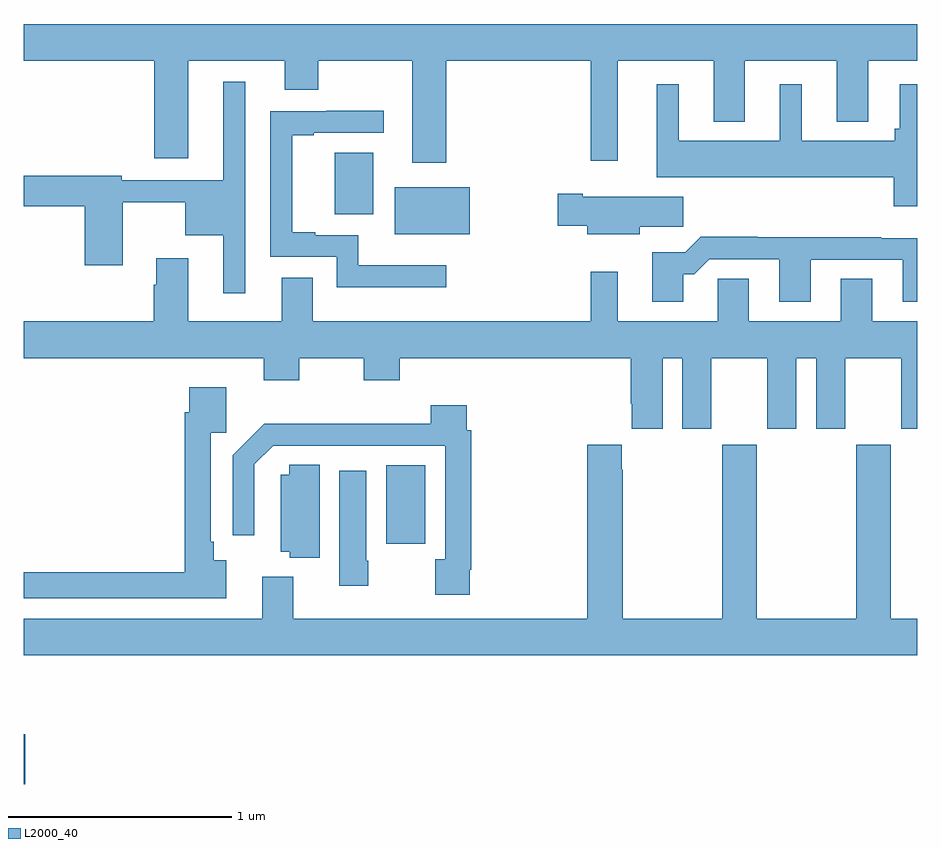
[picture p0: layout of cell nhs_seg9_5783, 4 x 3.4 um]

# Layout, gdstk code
import gdstk
lib = gdstk.Library(unit=1e-6, precision=1e-09)
def R(c, l, rs):  # rectangles x0, y0, x1, y1
    for r in rs: c.add(gdstk.rectangle(r[:2], r[2:], *l))
def P(c, l, *ps):  # polygons
    for p in ps: c.add(gdstk.Polygon(p, *l))
L2000_40 = (2000, 40)

nhs_seg9_5783 = lib.new_cell('nhs_seg9_5783')
R(nhs_seg9_5783, L2000_40, [(447,1206.5,447.005,1206.722), (448.661,1208.963,448.996,1209.172), (448.391,1209.053,448.564,1209.328)])
P(nhs_seg9_5783, L2000_40, [(448.892,1209.74),(449.538,1209.74),(449.538,1209.291),(449.659,1209.291),(449.659,1209.74),(450.089,1209.74),(450.089,1209.467),(450.229,1209.467),(450.229,1209.74),(450.641,1209.74),(450.641,1209.467),(450.781,1209.467),(450.781,1209.74),(451,1209.74),(451,1209.904),(447,1209.904),(447,1209.74),(447.584,1209.74),(447.584,1209.303),(447.736,1209.303),(447.736,1209.74),(448.169,1209.74),(448.169,1209.609),(448.317,1209.609),(448.317,1209.74),(448.739,1209.74),(448.739,1209.282),(448.892,1209.282)],
  [(447.99,1209.646),(447.893,1209.646),(447.893,1209.204),(447.438,1209.204),(447.438,1209.224),(447,1209.224),(447,1209.088),(447.272,1209.088),(447.272,1208.823),(447.442,1208.823),(447.442,1209.106),(447.722,1209.106),(447.722,1208.957),(447.893,1208.957),(447.893,1208.697),(447.99,1208.697)],
  [(451,1209.634),(450.923,1209.634),(450.923,1209.435),(450.901,1209.435),(450.901,1209.382),(450.484,1209.382),(450.484,1209.634),(450.386,1209.634),(450.386,1209.382),(449.932,1209.382),(449.932,1209.634),(449.834,1209.634),(449.834,1209.218),(450.896,1209.218),(450.896,1209.087),(451,1209.087)],
  [(448.891,1208.824),(448.498,1208.824),(448.498,1208.958),(448.304,1208.958),(448.304,1208.971),(448.202,1208.971),(448.202,1209.405),(448.297,1209.405),(448.297,1209.417),(448.612,1209.417),(448.612,1209.516),(448.353,1209.516),(448.353,1209.513),(448.104,1209.513),(448.104,1208.862),(448.401,1208.862),(448.401,1208.726),(448.891,1208.726)],
  [(449.758,1208.995),(449.953,1208.995),(449.953,1209.13),(449.503,1209.13),(449.503,1209.143),(449.391,1209.143),(449.391,1209.001),(449.522,1209.001),(449.522,1208.963),(449.758,1208.963)],
  [(449.953,1208.783),(450.002,1208.783),(450.069,1208.85),(450.383,1208.85),(450.383,1208.661),(450.523,1208.661),(450.523,1208.847),(450.935,1208.847),(450.935,1208.661),(451,1208.661),(451,1208.944),(450.839,1208.944),(450.839,1208.948),(450.287,1208.948),(450.287,1208.951),(450.032,1208.951),(449.962,1208.881),(449.813,1208.881),(449.813,1208.661),(449.953,1208.661)],
  [(449.86,1208.408),(449.948,1208.408),(449.948,1208.091),(450.079,1208.091),(450.079,1208.408),(450.329,1208.408),(450.329,1208.091),(450.46,1208.091),(450.46,1208.408),(450.548,1208.408),(450.548,1208.091),(450.679,1208.091),(450.679,1208.408),(450.929,1208.408),(450.929,1208.091),(451,1208.091),(451,1208.572),(450.799,1208.572),(450.799,1208.762),(450.659,1208.762),(450.659,1208.572),(450.247,1208.572),(450.247,1208.762),(450.108,1208.762),(450.108,1208.572),(449.659,1208.572),(449.659,1208.794),(449.538,1208.794),(449.538,1208.572),(448.294,1208.572),(448.294,1208.767),(448.154,1208.767),(448.154,1208.572),(447.736,1208.572),(447.736,1208.854),(447.593,1208.854),(447.593,1208.735),(447.581,1208.735),(447.581,1208.572),(447,1208.572),(447,1208.408),(448.073,1208.408),(448.073,1208.309),(448.233,1208.309),(448.233,1208.408),(448.522,1208.408),(448.522,1208.309),(448.682,1208.309),(448.682,1208.408),(449.717,1208.408),(449.717,1208.203),(449.723,1208.203),(449.723,1208.091),(449.86,1208.091)],
  [(447.907,1207.502),(447.85,1207.502),(447.85,1207.585),(447.837,1207.585),(447.837,1208.073),(447.906,1208.073),(447.906,1208.278),(447.74,1208.278),(447.74,1208.165),(447.721,1208.165),(447.721,1207.448),(447,1207.448),(447,1207.332),(447.907,1207.332)],
  [(448.996,1207.459),(449.003,1207.459),(449.003,1208.084),(448.984,1208.084),(448.984,1208.197),(448.823,1208.197),(448.823,1208.114),(448.077,1208.114),(447.936,1207.972),(447.936,1207.614),(448.032,1207.614),(448.032,1207.932),(448.116,1208.016),(448.887,1208.016),(448.887,1207.507),(448.841,1207.507),(448.841,1207.347),(448.996,1207.347)],
  [(451,1207.24),(450.882,1207.24),(450.882,1208.02),(450.727,1208.02),(450.727,1207.24),(450.282,1207.24),(450.282,1208.02),(450.127,1208.02),(450.127,1207.24),(449.682,1207.24),(449.682,1207.907),(449.677,1207.907),(449.677,1208.02),(449.522,1208.02),(449.522,1207.24),(448.207,1207.24),(448.207,1207.429),(448.067,1207.429),(448.067,1207.24),(447,1207.24),(447,1207.076),(451,1207.076)],
  [(448.324,1207.931),(448.188,1207.931),(448.188,1207.884),(448.151,1207.884),(448.151,1207.541),(448.191,1207.541),(448.191,1207.514),(448.324,1207.514)],
  [(448.797,1207.678),(448.798,1207.678),(448.798,1207.927),(448.622,1207.927),(448.622,1207.575),(448.797,1207.575)],
  [(448.542,1207.501),(448.534,1207.501),(448.534,1207.903),(448.412,1207.903),(448.412,1207.389),(448.542,1207.389)])

lib.write_gds('nhs_seg9_5783.gds')
